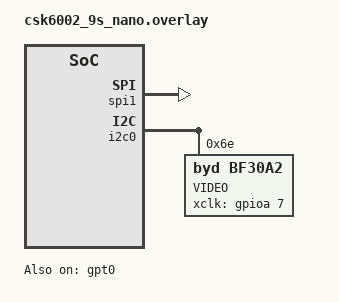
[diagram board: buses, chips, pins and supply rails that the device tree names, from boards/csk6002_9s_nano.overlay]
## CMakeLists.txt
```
# SPDX-License-Identifier: Apache-2.0

cmake_minimum_required(VERSION 3.20.0)

find_package(Zephyr REQUIRED HINTS $ENV{ZEPHYR_BASE})
project(hello_world)

add_subdirectory_ifdef(CONFIG_VIDEO drivers)

target_sources(app PRIVATE src/main.c)
```

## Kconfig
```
# path to custom driver Kconfig file.
source "samples/boards/csk6/driver/video/bf30a2/sample/drivers/Kconfig.bf30a2"

# path to zephyr base Kconfig file.
source "Kconfig.zephyr"
```

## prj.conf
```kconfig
# video
CONFIG_GPIO=y
CONFIG_SPI=y
CONFIG_SPI_SLAVE=y
CONFIG_SPI_RX_DMA=y
CONFIG_I2C=y
CONFIG_DMA=y
CONFIG_VIDEO=y
CONFIG_VIDEO_BF30A2=y

CONFIG_VIDEO_BUFFER_POOL_SZ_MAX=25600

CONFIG_ZERO_LATENCY_IRQS=y

CONFIG_NOCACHE_MEMORY=y

CONFIG_LOG=y
CONFIG_LOG_MODE_IMMEDIATE=y
CONFIG_PRINTK=y
CONFIG_HEAP_MEM_POOL_SIZE=10240
```

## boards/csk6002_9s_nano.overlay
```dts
&pinctrl{
                pinctrl_i2c0_scl_default: i2c0_scl_default{
                        pinctrls = <I2C0_SCL_GPIOB_04>;
                };

                pinctrl_i2c0_sda_default: i2c0_sda_default{
                        pinctrls = <I2C0_SDA_GPIOB_03>;
                };

                pinctrl_spi1_sclk_default: spi1_sclk_default {
                    pinctrls = < SPI1_CLK_GPIOA_04 >;
                };

                pinctrl_spi1_mosi_default: spi1_mosi_default {
                    pinctrls = < SPI1_MOSI_GPIOA_11 >;
                };

                pinctrl_spi1_cs_default: spi1_cs_default {
                    pinctrls = < SPI1_CS_N_GPIOA_09 >;
                };
};

&gpt0 {
	status = "okay";
};

&spi0 {
    status = "disabled";
};

&spi1 {
    status = "okay";
    spi-max-frequency = <100000000>;
    pinctrl-0 = <&pinctrl_spi1_sclk_default &pinctrl_spi1_mosi_default &pinctrl_spi1_cs_default>;
	pinctrl-names = "default";
};

&i2c0 {
        status = "okay";
        pinctrl-0 = <&pinctrl_i2c0_scl_default &pinctrl_i2c0_sda_default>;
        pinctrl-names = "default";

        bf30a2: bf30a2@6e {
            compatible = "byd,bf30a2";
            status = "okay";
            label = "VIDEO";
            reg = <0x6e>;
            product-id = <0x3b02>;
            spi = <&spi1>;
	        xclk-gpios = <&gpioa 7 0>;
        };
};
```

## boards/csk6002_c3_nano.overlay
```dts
&pinctrl{
                pinctrl_i2c0_scl_default: i2c0_scl_default{
                        pinctrls = <&pinmuxb 2 8>;
                };

                pinctrl_i2c0_sda_default: i2c0_sda_default{
                        pinctrls = <&pinmuxb 3 8>;
                };

                pinctrl_spi1_sclk_default: spi1_sclk_default {
                    pinctrls = < &pinmuxb 0 7 >;
                };

                pinctrl_spi1_mosi_default: spi1_mosi_default {
                    pinctrls = < &pinmuxb 1 7 >;
                };

                pinctrl_spi1_miso_default: spi1_miso_default {
                    pinctrls = < &pinmuxa 20 7 >;
                };

                pinctrl_spi1_cs_default: spi1_cs_default {
                    pinctrls = < &pinmuxa 9 7 >;
                };

};

&gpt0 {
	status = "okay";

    pwm5: pwm5 {
        status = "disabled";
    };

	pwm2: pwm2 {
        status = "disabled";
    };
};

&spi0 {
    status = "disabled";
};

&spi1 {
    status = "okay";
    spi-max-frequency = <100000000>;
    pinctrl-0 = <&pinctrl_spi1_sclk_default &pinctrl_spi1_mosi_default &pinctrl_spi1_miso_default &pinctrl_spi1_cs_default>;
	pinctrl-names = "default";
};

&i2c0 {
        status = "okay";
        pinctrl-0 = <&pinctrl_i2c0_scl_default &pinctrl_i2c0_sda_default>;
        pinctrl-names = "default";

        bf30a2: bf30a2@6e {
            compatible = "byd,bf30a2";
            status = "okay";
            label = "VIDEO";
            reg = <0x6e>;
            product-id = <0x3b02>;
	    xclk-gpios = <&gpioa 7 0>;
            spi = <&spi1>;
        };
};
```

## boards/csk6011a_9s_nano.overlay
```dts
&pinctrl{
                pinctrl_i2c0_scl_default: i2c0_scl_default{
                        pinctrls = <&pinmuxb 2 8>;
                };

                pinctrl_i2c0_sda_default: i2c0_sda_default{
                        pinctrls = <&pinmuxb 3 8>;
                };

                pinctrl_spi1_sclk_default: spi1_sclk_default {
                    pinctrls = < &pinmuxb 0 7 >;
                };

                pinctrl_spi1_mosi_default: spi1_mosi_default {
                    pinctrls = < &pinmuxb 1 7 >;
                };

                pinctrl_spi1_cs_default: spi1_cs_default {
                    pinctrls = < &pinmuxa 9 7 >;
                };
};

&gpt0 {
	status = "okay";
};

&spi0 {
    status = "disabled";
};

&spi1 {
    status = "okay";
    spi-max-frequency = <100000000>;
    pinctrl-0 = <&pinctrl_spi1_sclk_default &pinctrl_spi1_mosi_default &pinctrl_spi1_cs_default>;
	pinctrl-names = "default";
};

&i2c0 {
        status = "okay";
        pinctrl-0 = <&pinctrl_i2c0_scl_default &pinctrl_i2c0_sda_default>;
        pinctrl-names = "default";

        bf30a2: bf30a2@6e {
            compatible = "byd,bf30a2";
            status = "okay";
            label = "VIDEO";
            reg = <0x6e>;
            product-id = <0x3b02>;
            spi = <&spi1>;
	    xclk-gpios = <&gpioa 7 0>;
        };
};
```

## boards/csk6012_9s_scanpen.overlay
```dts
&i2c0 {
        status = "okay";
        pinctrl-0 = <&pinctrl_i2c0_scl_default &pinctrl_i2c0_sda_default>;
        pinctrl-names = "default";

        bf30a2: bf30a2@6e {
            compatible = "byd,bf30a2";
            status = "okay";
            label = "VIDEO";
            reg = <0x6e>;
            product-id = <0x3b02>;
	    xclk-gpios = <&gpioa 7 0>;
            spi = <&spi1>;
        };
};

&csk6012_9s_scanpen_pinctrl {
        pinctrl_i2c0_scl_default: i2c0_scl_default{
                pinctrls = <&pinmuxb 2 8>;
        };

        pinctrl_i2c0_sda_default: i2c0_sda_default{
                pinctrls = <&pinmuxb 3 8>;
        };
};
```

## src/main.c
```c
/*
 * Copyright (c) 2022 ListenAI
 *
 * SPDX-License-Identifier: Apache-2.0
 */

#include <zephyr.h>
#include <sys/printk.h>

#include <cache.h>
#include <drivers/video.h>
#include <device.h>

#include "venus_ap.h"
#include "cmn_sysctrl_reg_venus.h"
#include "PSRAMManager.h"

#include <logging/log.h>
#include <drivers/uart.h>
#include <drivers/ipm.h>

LOG_MODULE_REGISTER(main, 4);

#define VIDEO_DEV DT_LABEL(DT_INST(0, byd_bf30a2))

void main(void)
{
	printk("Hello World! %s\n", CONFIG_BOARD);

	while (1) {
		k_sleep(K_MSEC(1000));
	}
}

static void test_thread_0(void *p1, void *p2, void *p3)
{
	const struct device *video = device_get_binding(VIDEO_DEV);
	uint32_t loop_cnt = 0;
	uint32_t last_tick = 0;
	uint32_t frame_cnt = 0;
	struct video_buffer *buf = NULL;
	uint32_t tick;

	if (!device_is_ready(video)) {
		printk("video device is not ready.\n");
		return;
	}

	while(1) {
		LOG_INF("start video steam, loop count:%d\n", ++loop_cnt);
		/* Start video capture */
		if (video_stream_start(video)) {
			printk("Unable to start video.\n");
			return;
		}
		tick = k_uptime_get_32();
		while((k_uptime_get_32() - tick) < 3000) {
			video_dequeue(video, VIDEO_EP_OUT, &buf, K_FOREVER);
			if (buf != NULL) {
				frame_cnt++;
				int fps = (buf->timestamp - last_tick) > 0 ? 1000 / (buf->timestamp - last_tick) : 0;
				// LOG_INF("FPS:%d, frame count:%d, vbuf:%p.", fps, frame_cnt, buf);
				last_tick = buf->timestamp;
				memset(buf->buffer, 0, buf->bytesused);
				video_enqueue(video, VIDEO_EP_OUT, buf);
			}
			buf = NULL;
		}
		LOG_INF("stop video steam, loop count:%d\n", loop_cnt);
		/* buffer will be automatically flushed after stopping. */
		if (video_stream_stop(video)) {
			printk("Unable to start video.\n");
			return;
		}
		int r;
		/* NO WAIT */
		while((r = video_dequeue(video, VIDEO_EP_OUT, &buf, K_NO_WAIT)) == 0) {
			memset(buf->buffer, 0, buf->bytesused);
			video_enqueue(video, VIDEO_EP_OUT, buf);
		}
		LOG_INF("sleep.");
		k_msleep(1 * 1000);
	}
}

K_THREAD_DEFINE(test_thread_0_thread, 1024,                \
			test_thread_0, NULL, NULL, NULL,               \
			0, 0, 0);
```
